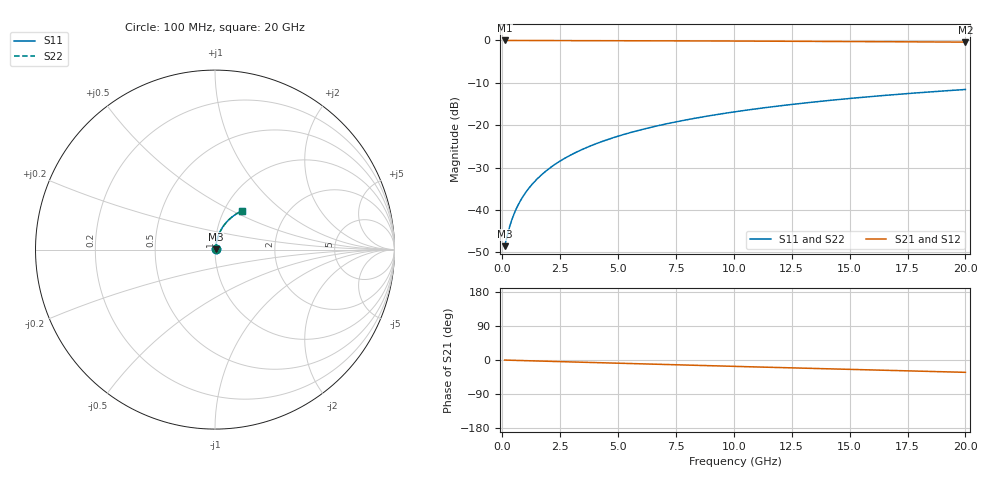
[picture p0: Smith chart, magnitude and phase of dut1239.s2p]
! Touchstone file exported from HFSS 2026.1.0
!  File:  C:/ffzhzh/LocalFiles/Ansys_Project_Files/temp_train_TMRDL_1239_1783163621_55132.aedt
!  Generated:  07:14:56 PM Jul  4, 2026
!  Design:  TMRDL
!  Project:  temp_train_TMRDL_1239_1783163621_55132
! Variables:
!  h_bsmrdl = 2um
!  h_ox = 20um
!  h_rdl = 5um
!  h_sub = 80um
!  h_tmrdl = 3.25um
!  h_tsv = 80um
!  h_via = 3um
!  l_bsmrdl = 300um
!  l_sub = 899.05um
!  l_tmrdl = 499.05um
!  m_sub = 200um
!  pitch = 32.33um
!  r_tsv = 6um
!  s_tmrdl = 10um
!  w_bsmrdl = 18um
!  w_sub = 500um
!  w_tmrdl = 17.17um
!  x_tsv_center1 = 507.635um
!  x_tsv_center2 = 825.635um
!  x_tsv_center3 = 1341.855um
!  x_tsv_center4 = 1659.855um
!  x_tsv_center5 = 2176.075um
!  x_tsv_center6 = 2494.075um
# GHz S MA R 50.000000
! Terminal data exported
! Port[1] = TM_RDL1_1_T1
! Port[2] = TM_RDL1_1_T2
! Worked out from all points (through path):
!   200 points, 100 MHz to 20 GHz, reference 50 ohm
!   highest |S21| = -0.03 dB at 100 MHz (marker M1); lowest = -0.4 dB at 20 GHz (marker M2)
!   group delay of S21, straight-line fit = 4.52 ps
!   lowest |S11| = -48.5 dB at 100 MHz (marker M3), VSWR 1.01, Z = 50.3 + j0.171 ohm
!   |S11| at or under -10 dB: start of sweep to end of sweep
!   |S22| runs from -48.5 to -11.6 dB; largest |S21 - S12| = 3.5e-15
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0.1  0.003752 27.0  0.9967 -0.2  0.9967 -0.2  0.003752 27.0
! Gamma 0 0 0 0
! Port Impedance 50 0 50 0
0.3  0.006137 53.6  0.9964 -0.5  0.9964 -0.5  0.006137 53.6
0.4  0.007511 59.5  0.9962 -0.7  0.9962 -0.7  0.007511 59.5
0.5  0.008901 63.4  0.9961 -0.9  0.9961 -0.9  0.008901 63.4
0.6  0.0103 66.4  0.996 -1.1  0.996 -1.1  0.0103 66.4
0.8  0.01312 70.4  0.9958 -1.4  0.9958 -1.4  0.01312 70.4
1  0.01596 73.0  0.9957 -1.7  0.9957 -1.7  0.01596 73.0
1.2  0.01884 74.8  0.9956 -2.1  0.9956 -2.1  0.01884 74.8
1.4  0.02174 76.0  0.9954 -2.4  0.9954 -2.4  0.02174 76.0
1.7  0.02611 77.3  0.9952 -2.9  0.9952 -2.9  0.02611 77.3
2.2  0.03344 78.3  0.9949 -3.8  0.9949 -3.8  0.03344 78.3
2.8  0.04224 78.7  0.9943 -4.8  0.9943 -4.8  0.04224 78.7
3.5  0.05249 78.5  0.9935 -6.0  0.9935 -6.0  0.05249 78.5
4.2  0.06267 77.9  0.9926 -7.2  0.9926 -7.2  0.06267 77.9
5  0.07421 77.0  0.9915 -8.5  0.9915 -8.5  0.07421 77.0
5.9  0.08705 75.9  0.9899 -10.0  0.9899 -10.0  0.08704 75.9
6.8  0.09971 74.6  0.9883 -11.5  0.9883 -11.5  0.0997 74.6
8.3  0.1204 72.4  0.9852 -14.0  0.9852 -14.0  0.1204 72.4
10.1  0.1446 69.7  0.981 -16.9  0.981 -16.9  0.1445 69.7
13.4  0.1869 64.7  0.9724 -22.2  0.9724 -22.2  0.1869 64.7
16.7  0.2266 59.8  0.9629 -27.4  0.9629 -27.4  0.2265 59.8
20  0.2635 54.9  0.9527 -32.5  0.9527 -32.5  0.2635 54.9
